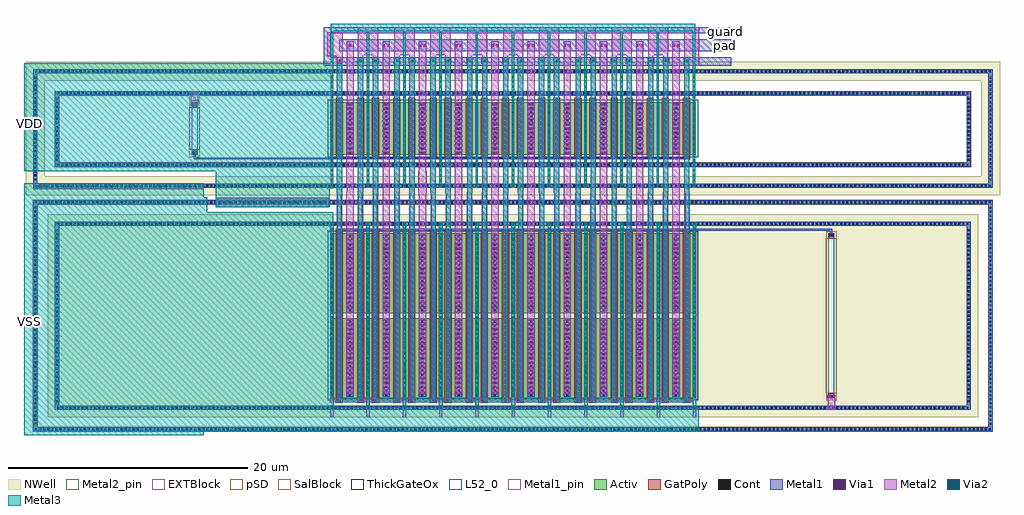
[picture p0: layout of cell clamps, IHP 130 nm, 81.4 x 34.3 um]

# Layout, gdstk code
from math import pi, radians
import gdstk
lib = gdstk.Library(unit=1e-6, precision=1e-09)
def R(c, l, rs):  # rectangles x0, y0, x1, y1
    for r in rs: c.add(gdstk.rectangle(r[:2], r[2:], *l))
def A(c, l, x, y, w, h, nx, ny, dx, dy):  # array of equal rectangles
    R(c, l, [(x+i*dx, y+j*dy, x+i*dx+w, y+j*dy+h) for i in range(nx) for j in range(ny)])
Activ = (1, 0)
GatPoly = (5, 0)
Cont = (6, 0)
Metal1 = (8, 0)
Metal1_pin = (8, 2)
Metal2 = (10, 0)
Metal2_pin = (10, 2)
pSD = (14, 0)
Via1 = (19, 0)
SalBlock = (28, 0)
Via2 = (29, 0)
Metal3 = (30, 0)
NWell = (31, 0)
ThickGateOx = (44, 0)
L52_0 = (52, 0)
EXTBlock = (111, 0)

sg13g2_clamp_p20n0d = lib.new_cell('sg13g2_Clamp_P20N0D')
R(sg13g2_clamp_p20n0d, Activ, [(0,0,80,0.34), (0,0.34,0.34,18.92), (79.66,0.34,80,18.92), (1.8,1.8,78.2,2.14), (1.8,2.14,2.14,17.12), (77.86,2.14,78.2,17.12), (24.75,2.75,55.25,9.41), (24.75,9.85,55.25,16.51), (1.8,17.12,78.2,17.46), (0,18.92,80,19.26)])
R(sg13g2_clamp_p20n0d, GatPoly, [(25.22,2.38,25.82,16.88), (27,2.38,27.6,16.88), (28.24,2.38,28.84,16.88), (30.02,2.38,30.62,16.88), (31.26,2.38,31.86,16.88), (33.04,2.38,33.64,16.88), (34.28,2.38,34.88,16.88), (36.06,2.38,36.66,16.88), (37.3,2.38,37.9,16.88), (39.08,2.38,39.68,16.88), (40.32,2.38,40.92,16.88), (42.1,2.38,42.7,16.88), (43.34,2.38,43.94,16.88), (45.12,2.38,45.72,16.88), (46.36,2.38,46.96,16.88), (48.14,2.38,48.74,16.88), (49.38,2.38,49.98,16.88), (51.16,2.38,51.76,16.88), (52.4,2.38,53,16.88), (54.18,2.38,54.78,16.88), (66.305,2.75,66.805,3.18), (66.305,16.08,66.805,16.51)])
A(sg13g2_clamp_p20n0d, Cont, 0.14, 0.09, 0.16, 0.16, 235, 2, 0.34, 18.92)
A(sg13g2_clamp_p20n0d, Cont, 0.09, 0.54, 0.16, 0.16, 1, 54, 0, 0.34)
A(sg13g2_clamp_p20n0d, Cont, 79.75, 0.54, 0.16, 0.16, 1, 54, 0, 0.34)
A(sg13g2_clamp_p20n0d, Cont, 2.01, 1.89, 0.16, 0.16, 224, 2, 0.34, 15.32)
A(sg13g2_clamp_p20n0d, Cont, 1.89, 2.41, 0.16, 0.16, 1, 43, 0, 0.34)
A(sg13g2_clamp_p20n0d, Cont, 77.95, 2.41, 0.16, 0.16, 1, 43, 0, 0.34)
A(sg13g2_clamp_p20n0d, Cont, 25.44, 2.45, 0.16, 0.16, 1, 3, 0, 7.1)
A(sg13g2_clamp_p20n0d, Cont, 27.22, 2.45, 0.16, 0.16, 1, 3, 0, 7.1)
A(sg13g2_clamp_p20n0d, Cont, 28.46, 2.45, 0.16, 0.16, 1, 3, 0, 7.1)
A(sg13g2_clamp_p20n0d, Cont, 30.24, 2.45, 0.16, 0.16, 1, 3, 0, 7.1)
A(sg13g2_clamp_p20n0d, Cont, 31.48, 2.45, 0.16, 0.16, 1, 3, 0, 7.1)
A(sg13g2_clamp_p20n0d, Cont, 33.26, 2.45, 0.16, 0.16, 1, 3, 0, 7.1)
A(sg13g2_clamp_p20n0d, Cont, 34.5, 2.45, 0.16, 0.16, 1, 3, 0, 7.1)
A(sg13g2_clamp_p20n0d, Cont, 36.28, 2.45, 0.16, 0.16, 1, 3, 0, 7.1)
A(sg13g2_clamp_p20n0d, Cont, 37.52, 2.45, 0.16, 0.16, 1, 3, 0, 7.1)
A(sg13g2_clamp_p20n0d, Cont, 39.3, 2.45, 0.16, 0.16, 1, 3, 0, 7.1)
A(sg13g2_clamp_p20n0d, Cont, 40.54, 2.45, 0.16, 0.16, 1, 3, 0, 7.1)
A(sg13g2_clamp_p20n0d, Cont, 42.32, 2.45, 0.16, 0.16, 1, 3, 0, 7.1)
A(sg13g2_clamp_p20n0d, Cont, 43.56, 2.45, 0.16, 0.16, 1, 3, 0, 7.1)
A(sg13g2_clamp_p20n0d, Cont, 45.34, 2.45, 0.16, 0.16, 1, 3, 0, 7.1)
A(sg13g2_clamp_p20n0d, Cont, 46.58, 2.45, 0.16, 0.16, 1, 3, 0, 7.1)
A(sg13g2_clamp_p20n0d, Cont, 48.36, 2.45, 0.16, 0.16, 1, 3, 0, 7.1)
A(sg13g2_clamp_p20n0d, Cont, 49.6, 2.45, 0.16, 0.16, 1, 3, 0, 7.1)
A(sg13g2_clamp_p20n0d, Cont, 51.38, 2.45, 0.16, 0.16, 1, 3, 0, 7.1)
A(sg13g2_clamp_p20n0d, Cont, 52.62, 2.45, 0.16, 0.16, 1, 3, 0, 7.1)
A(sg13g2_clamp_p20n0d, Cont, 54.4, 2.45, 0.16, 0.16, 1, 3, 0, 7.1)
A(sg13g2_clamp_p20n0d, Cont, 24.82, 2.94, 0.16, 0.16, 21, 19, 1.51, 0.34)
A(sg13g2_clamp_p20n0d, Cont, 24.82, 10.04, 0.16, 0.16, 21, 19, 1.51, 0.34)
R(sg13g2_clamp_p20n0d, Cont, [(66.375,2.82,66.735,2.98), (66.375,16.28,66.735,16.44)])
A(sg13g2_clamp_p20n0d, Metal1, 24.795, 2.86, 0.21, 6.44, 11, 2, 3.02, 7.1)
A(sg13g2_clamp_p20n0d, Metal1, 26.1, 2.86, 0.62, 6.44, 10, 2, 3.02, 7.1)
R(sg13g2_clamp_p20n0d, Metal1, [(0,0,80,0.34), (0,0.34,0.34,18.92), (79.66,0.34,80,18.92), (1.8,1.8,78.2,2.14), (1.8,2.14,2.14,17.12), (77.86,2.14,78.2,17.12), (25.44,2.37,25.6,16.73), (27.22,2.37,27.38,16.73), (28.46,2.37,28.62,16.73), (30.24,2.37,30.4,16.73), (31.48,2.37,31.64,16.73), (33.26,2.37,33.42,16.73), (34.5,2.37,34.66,16.73), (36.28,2.37,36.44,16.73), (37.52,2.37,37.68,16.73), (39.3,2.37,39.46,16.73), (40.54,2.37,40.7,16.73), (42.32,2.37,42.48,16.73), (43.56,2.37,43.72,16.73), (45.34,2.37,45.5,16.73), (46.58,2.37,46.74,16.73), (48.36,2.37,48.52,16.73), (49.6,2.37,49.76,16.73), (51.38,2.37,51.54,16.73), (52.62,2.37,52.78,16.73), (54.4,2.37,54.56,16.73), (66.2,2.75,66.9,3.05), (66.475,16.2,66.635,16.21), (66.325,16.21,66.785,16.51), (66.475,16.51,66.635,16.73), (25.44,16.73,66.635,16.89), (1.8,17.12,78.2,17.46), (0,18.92,80,19.26)])
R(sg13g2_clamp_p20n0d, Metal1_pin, [(62.52,0.09,63.085,0.29), (62.44,1.89,62.95,2.08)])
A(sg13g2_clamp_p20n0d, Metal2, 24.76, 1.16, 0.28, 0.61, 11, 1, 3.025, 0)
A(sg13g2_clamp_p20n0d, Metal2, 24.75, 1.77, 0.3, 0.38, 11, 1, 3.025, 0)
A(sg13g2_clamp_p20n0d, Metal2, 24.75, 3.06, 0.3, 14.39, 11, 1, 3.025, 0)
A(sg13g2_clamp_p20n0d, Metal2, 26.105, 3.065, 0.61, 16.835, 10, 1, 3.02, 0)
R(sg13g2_clamp_p20n0d, Metal2, [(66.25,1.825,66.86,3.045), (24.7,2.4,54.95,2.75), (25.3,2.75,25.75,19.9), (27.075,2.75,27.525,19.9), (28.325,2.75,28.775,19.9), (30.1,2.75,30.55,19.9), (31.35,2.75,31.8,19.9), (33.125,2.75,33.575,19.9), (34.375,2.75,34.825,19.9), (36.15,2.75,36.6,19.9), (37.4,2.75,37.85,19.9), (39.175,2.75,39.625,19.9), (40.425,2.75,40.875,19.9), (42.175,2.75,42.625,19.9), (43.425,2.75,43.875,19.9), (45.2,2.75,45.65,19.9), (46.45,2.75,46.9,19.9), (48.225,2.75,48.675,19.9), (49.475,2.75,49.925,19.9), (51.25,2.75,51.7,19.9), (52.5,2.75,52.95,19.9), (54.275,2.75,54.725,19.9)])
A(sg13g2_clamp_p20n0d, Metal2_pin, 26.105, 3.065, 0.61, 16.195, 10, 1, 3.02, 0)
R(sg13g2_clamp_p20n0d, pSD, [(-0.03,-0.03,80.03,0.37), (-0.03,0.37,0.37,18.89), (79.63,0.37,80.03,18.89), (24.57,2.57,55.43,16.69), (66.125,2.57,66.985,16.69), (-0.03,18.89,80.03,19.29)])
A(sg13g2_clamp_p20n0d, Via1, 24.805, 1.875, 0.19, 0.19, 11, 2, 3.02, 15.32)
A(sg13g2_clamp_p20n0d, Via1, 24.805, 3.115, 0.19, 0.19, 1, 15, 0, 0.41)
A(sg13g2_clamp_p20n0d, Via1, 26.11, 3.115, 0.19, 0.19, 1, 15, 0, 0.41)
A(sg13g2_clamp_p20n0d, Via1, 26.52, 3.115, 0.19, 0.19, 3, 15, 1.305, 0.41)
A(sg13g2_clamp_p20n0d, Via1, 29.54, 3.115, 0.19, 0.19, 3, 15, 1.305, 0.41)
A(sg13g2_clamp_p20n0d, Via1, 32.56, 3.115, 0.19, 0.19, 3, 15, 1.305, 0.41)
A(sg13g2_clamp_p20n0d, Via1, 35.58, 3.115, 0.19, 0.19, 3, 15, 1.305, 0.41)
A(sg13g2_clamp_p20n0d, Via1, 38.6, 3.115, 0.19, 0.19, 3, 15, 1.305, 0.41)
A(sg13g2_clamp_p20n0d, Via1, 41.62, 3.115, 0.19, 0.19, 3, 15, 1.305, 0.41)
A(sg13g2_clamp_p20n0d, Via1, 44.64, 3.115, 0.19, 0.19, 3, 15, 1.305, 0.41)
A(sg13g2_clamp_p20n0d, Via1, 47.66, 3.115, 0.19, 0.19, 3, 15, 1.305, 0.41)
A(sg13g2_clamp_p20n0d, Via1, 50.68, 3.115, 0.19, 0.19, 3, 15, 1.305, 0.41)
A(sg13g2_clamp_p20n0d, Via1, 53.7, 3.115, 0.19, 0.19, 1, 15, 0, 0.41)
A(sg13g2_clamp_p20n0d, Via1, 55.005, 3.115, 0.19, 0.19, 1, 15, 0, 0.41)
A(sg13g2_clamp_p20n0d, Via1, 24.805, 10.215, 0.19, 0.19, 1, 15, 0, 0.41)
A(sg13g2_clamp_p20n0d, Via1, 26.11, 10.215, 0.19, 0.19, 1, 15, 0, 0.41)
A(sg13g2_clamp_p20n0d, Via1, 26.52, 10.215, 0.19, 0.19, 3, 15, 1.305, 0.41)
A(sg13g2_clamp_p20n0d, Via1, 29.54, 10.215, 0.19, 0.19, 3, 15, 1.305, 0.41)
A(sg13g2_clamp_p20n0d, Via1, 32.56, 10.215, 0.19, 0.19, 3, 15, 1.305, 0.41)
A(sg13g2_clamp_p20n0d, Via1, 35.58, 10.215, 0.19, 0.19, 3, 15, 1.305, 0.41)
A(sg13g2_clamp_p20n0d, Via1, 38.6, 10.215, 0.19, 0.19, 3, 15, 1.305, 0.41)
A(sg13g2_clamp_p20n0d, Via1, 41.62, 10.215, 0.19, 0.19, 3, 15, 1.305, 0.41)
A(sg13g2_clamp_p20n0d, Via1, 44.64, 10.215, 0.19, 0.19, 3, 15, 1.305, 0.41)
A(sg13g2_clamp_p20n0d, Via1, 47.66, 10.215, 0.19, 0.19, 3, 15, 1.305, 0.41)
A(sg13g2_clamp_p20n0d, Via1, 50.68, 10.215, 0.19, 0.19, 3, 15, 1.305, 0.41)
A(sg13g2_clamp_p20n0d, Via1, 53.7, 10.215, 0.19, 0.19, 1, 15, 0, 0.41)
A(sg13g2_clamp_p20n0d, Via1, 55.005, 10.215, 0.19, 0.19, 1, 15, 0, 0.41)
R(sg13g2_clamp_p20n0d, Via1, [(66.255,1.875,66.445,2.065), (66.665,1.875,66.855,2.065), (66.255,2.805,66.445,2.995), (66.665,2.805,66.855,2.995)])
R(sg13g2_clamp_p20n0d, SalBlock, [(66.105,3.18,67.005,16.08)])
A(sg13g2_clamp_p20n0d, Via2, 24.805, 1.875, 0.19, 0.19, 11, 2, 3.025, 1.24)
A(sg13g2_clamp_p20n0d, Via2, 24.805, 3.525, 0.19, 0.19, 11, 14, 3.025, 0.41)
A(sg13g2_clamp_p20n0d, Via2, 24.805, 9.385, 0.19, 0.19, 11, 20, 3.025, 0.41)
A(sg13g2_clamp_p20n0d, Metal3, 27.775, 2, 0.3, 15.45, 10, 1, 3.025, 0)
A(sg13g2_clamp_p20n0d, Metal3, 28.35, 2.4, 2.15, 0.35, 3, 1, 3.05, 0)
A(sg13g2_clamp_p20n0d, Metal3, 43.5, 2.4, 2.15, 0.35, 3, 1, 3, 0)
R(sg13g2_clamp_p20n0d, Metal3, [(14,0,55.5,2), (14,2,25.05,17.45), (25.35,2.4,27.45,2.75), (37.45,2.4,39.65,2.75), (40.45,2.4,42.65,2.75), (52.55,2.4,54.7,2.75), (25.35,2.75,25.7,19.9), (27.1,2.75,27.45,19.9), (28.35,2.75,28.7,19.9), (30.15,2.75,30.5,19.9), (31.4,2.75,31.75,19.9), (33.2,2.75,33.55,19.9), (34.45,2.75,34.8,19.9), (36.2,2.75,36.55,19.9), (37.45,2.75,37.8,19.9), (39.2,2.75,39.55,19.9), (40.45,2.75,40.8,19.9), (42.25,2.75,42.6,19.9), (43.5,2.75,43.85,19.9), (45.25,2.75,45.6,19.9), (46.5,2.75,46.85,19.9), (48.25,2.75,48.6,19.9), (49.5,2.75,49.85,19.9), (51.3,2.75,51.65,19.9), (52.55,2.75,52.9,19.9), (54.35,2.75,54.7,19.9), (14,17.45,25,18.27), (14,18.27,14.52,19.5)])
R(sg13g2_clamp_p20n0d, NWell, [(1.18,1.18,78.82,18.08)])
R(sg13g2_clamp_p20n0d, ThickGateOx, [(24.565,2.565,55.435,16.695)])
R(sg13g2_clamp_p20n0d, L52_0, [(66.305,3.18,66.805,16.08)])
R(sg13g2_clamp_p20n0d, EXTBlock, [(66.125,2.57,66.985,16.69)])
sg13g2_clamp_p20n0d.add(gdstk.Label('pad', (26.41,11.162), layer=10, texttype=25))
sg13g2_clamp_p20n0d.add(gdstk.Label('pad', (29.43,11.162), layer=10, texttype=25))
sg13g2_clamp_p20n0d.add(gdstk.Label('pad', (32.45,11.162), layer=10, texttype=25))
sg13g2_clamp_p20n0d.add(gdstk.Label('pad', (35.47,11.162), layer=10, texttype=25))
sg13g2_clamp_p20n0d.add(gdstk.Label('pad', (38.49,11.162), layer=10, texttype=25))
sg13g2_clamp_p20n0d.add(gdstk.Label('pad', (41.51,11.162), layer=10, texttype=25))
sg13g2_clamp_p20n0d.add(gdstk.Label('pad', (44.53,11.162), layer=10, texttype=25))
sg13g2_clamp_p20n0d.add(gdstk.Label('pad', (47.55,11.162), layer=10, texttype=25))
sg13g2_clamp_p20n0d.add(gdstk.Label('pad', (50.57,11.162), layer=10, texttype=25))
sg13g2_clamp_p20n0d.add(gdstk.Label('pad', (53.59,11.162), layer=10, texttype=25))
sg13g2_clamp_p20n0d.add(gdstk.Label('iovss', (62.802,0.19), layer=8, texttype=25))
sg13g2_clamp_p20n0d.add(gdstk.Label('iovdd', (62.695,1.985), layer=8, texttype=25))

sg13g2_clamp_n20n0d = lib.new_cell('sg13g2_Clamp_N20N0D')
R(sg13g2_clamp_n20n0d, Activ, [(0.01,0,80,0.01), (0,0.01,80,0.34), (0,0.34,0.34,9.56), (79.66,0.34,80,9.56), (1.8,1.85,78.2,2.19), (1.8,2.19,2.14,7.81), (77.86,2.19,78.2,7.81), (24.75,2.75,55.25,7.15), (1.8,7.81,78.2,8.15), (0,9.56,80,9.9)])
R(sg13g2_clamp_n20n0d, GatPoly, [(25.22,2.38,25.82,7.52), (27,2.38,27.6,7.52), (28.24,2.38,28.84,7.52), (30.02,2.38,30.62,7.52), (31.26,2.38,31.86,7.52), (33.04,2.38,33.64,7.52), (34.28,2.38,34.88,7.52), (36.06,2.38,36.66,7.52), (37.3,2.38,37.9,7.52), (39.08,2.38,39.68,7.52), (40.32,2.38,40.92,7.52), (42.1,2.38,42.7,7.52), (43.34,2.38,43.94,7.52), (45.12,2.38,45.72,7.52), (46.36,2.38,46.96,7.52), (48.14,2.38,48.74,7.52), (49.38,2.38,49.98,7.52), (51.16,2.38,51.76,7.52), (52.4,2.38,53,7.52), (54.18,2.38,54.78,7.52), (66.305,2.75,66.805,3.18), (66.305,6.72,66.805,7.15)])
A(sg13g2_clamp_n20n0d, Cont, 0.14, 0.09, 0.16, 0.16, 235, 2, 0.34, 9.56)
A(sg13g2_clamp_n20n0d, Cont, 0.09, 0.62, 0.16, 0.16, 1, 26, 0, 0.34)
A(sg13g2_clamp_n20n0d, Cont, 79.75, 0.62, 0.16, 0.16, 1, 26, 0, 0.34)
A(sg13g2_clamp_n20n0d, Cont, 2.01, 1.94, 0.16, 0.16, 224, 2, 0.34, 5.96)
A(sg13g2_clamp_n20n0d, Cont, 1.89, 2.37, 0.16, 0.16, 1, 16, 0, 0.34)
A(sg13g2_clamp_n20n0d, Cont, 77.95, 2.37, 0.16, 0.16, 1, 16, 0, 0.34)
A(sg13g2_clamp_n20n0d, Cont, 24.82, 2.83, 0.16, 0.16, 21, 13, 1.51, 0.34)
R(sg13g2_clamp_n20n0d, Cont, [(25.44,2.45,25.6,2.61), (27.22,2.45,27.38,2.61), (28.46,2.45,28.62,2.61), (30.24,2.45,30.4,2.61), (31.48,2.45,31.64,2.61), (33.26,2.45,33.42,2.61), (34.5,2.45,34.66,2.61), (36.28,2.45,36.44,2.61), (37.52,2.45,37.68,2.61), (39.3,2.45,39.46,2.61), (40.54,2.45,40.7,2.61), (42.32,2.45,42.48,2.61), (43.56,2.45,43.72,2.61), (45.34,2.45,45.5,2.61), (46.58,2.45,46.74,2.61), (48.36,2.45,48.52,2.61), (49.6,2.45,49.76,2.61), (51.38,2.45,51.54,2.61), (52.62,2.45,52.78,2.61), (54.4,2.45,54.56,2.61), (66.375,2.82,66.735,2.98), (66.375,6.92,66.735,7.08), (25.44,7.29,25.6,7.45), (27.22,7.29,27.38,7.45), (28.46,7.29,28.62,7.45), (30.24,7.29,30.4,7.45), (31.48,7.29,31.64,7.45), (33.26,7.29,33.42,7.45), (34.5,7.29,34.66,7.45), (36.28,7.29,36.44,7.45), (37.52,7.29,37.68,7.45), (39.3,7.29,39.46,7.45), (40.54,7.29,40.7,7.45), (42.32,7.29,42.48,7.45), (43.56,7.29,43.72,7.45), (45.34,7.29,45.5,7.45), (46.58,7.29,46.74,7.45), (48.36,7.29,48.52,7.45), (49.6,7.29,49.76,7.45), (51.38,7.29,51.54,7.45), (52.62,7.29,52.78,7.45), (54.4,7.29,54.56,7.45)])
A(sg13g2_clamp_n20n0d, Metal1, 24.795, 1.8, 0.21, 0.05, 11, 2, 3.02, 5.96)
A(sg13g2_clamp_n20n0d, Metal1, 24.795, 2.75, 0.21, 4.4, 11, 1, 3.02, 0)
A(sg13g2_clamp_n20n0d, Metal1, 26.1, 2.75, 0.62, 4.4, 10, 1, 3.02, 0)
R(sg13g2_clamp_n20n0d, Metal1, [(0.01,0,80,0.01), (0,0.01,80,0.34), (0,0.34,0.34,9.56), (79.66,0.34,80,9.56), (66.245,1.825,66.865,1.85), (1.8,1.85,78.2,2.19), (1.8,2.19,2.14,7.81), (77.86,2.19,78.2,7.81), (25.44,2.37,25.6,7.37), (27.22,2.37,27.38,7.37), (28.46,2.37,28.62,7.37), (30.24,2.37,30.4,7.37), (31.48,2.37,31.64,7.37), (33.26,2.37,33.42,7.37), (34.5,2.37,34.66,7.37), (36.28,2.37,36.44,7.37), (37.52,2.37,37.68,7.37), (39.3,2.37,39.46,7.37), (40.54,2.37,40.7,7.37), (42.32,2.37,42.48,7.37), (43.56,2.37,43.72,7.37), (45.34,2.37,45.5,7.37), (46.58,2.37,46.74,7.37), (48.36,2.37,48.52,7.37), (49.6,2.37,49.76,7.37), (51.38,2.37,51.54,7.37), (52.62,2.37,52.78,7.37), (54.4,2.37,54.56,7.37), (66.245,2.75,66.865,3.04), (66.475,6.84,66.635,6.85), (66.325,6.85,66.785,7.15), (66.475,7.15,66.635,7.37), (25.44,7.37,66.635,7.53), (1.8,7.81,78.2,8.15), (0,9.56,80,9.895), (0,9.895,47.08,9.9), (47.935,9.895,80,9.9)])
R(sg13g2_clamp_n20n0d, Metal1_pin, [(62.245,1.85,62.74,2.1)])
A(sg13g2_clamp_n20n0d, Metal2, 26.105, -0.48, 0.61, 10.8, 7, 1, 3.02, 0)
A(sg13g2_clamp_n20n0d, Metal2, 24.8, 0, 0.2, 9.9, 11, 1, 3.02, 0)
R(sg13g2_clamp_n20n0d, Metal2, [(25.28,-0.48,25.73,10.32), (27.03,-0.48,27.48,10.32), (28.28,-0.48,28.73,10.32), (30.08,-0.48,30.53,10.32), (31.33,-0.48,31.78,10.32), (33.08,-0.48,33.53,10.32), (34.33,-0.48,34.78,10.32), (36.13,-0.48,36.58,10.32), (37.38,-0.48,37.83,10.32), (39.13,-0.48,39.58,10.32), (40.38,-0.48,40.83,10.32), (42.13,-0.48,42.58,10.32), (43.38,-0.48,43.83,10.32), (45.18,-0.48,45.63,10.32), (46.43,-0.48,46.88,10.32), (47.245,-0.48,47.855,8.51), (48.18,-0.48,48.63,10.32), (49.43,-0.48,49.88,10.32), (50.265,-0.48,50.875,10.32), (51.23,-0.48,51.68,10.32), (52.48,-0.48,52.93,10.32), (53.28,-0.48,53.88,2.755), (54.23,-0.48,54.68,10.37), (66.25,1.825,66.86,3.045), (53.28,2.755,53.895,9.9), (47.2,8.51,47.89,10.32), (53.28,9.9,53.88,10.37), (47.245,10.32,47.85,10.43)])
A(sg13g2_clamp_n20n0d, Metal2_pin, 26.105, 2.755, 0.61, 7.145, 10, 1, 3.02, 0)
R(sg13g2_clamp_n20n0d, pSD, [(1.77,1.82,78.23,2.22), (1.77,2.22,2.17,7.78), (66.125,2.22,66.985,7.33), (77.83,2.22,78.23,7.78), (1.77,7.78,78.23,8.18)])
A(sg13g2_clamp_n20n0d, Via1, 24.805, 1.875, 0.19, 0.19, 11, 2, 3.02, 5.96)
A(sg13g2_clamp_n20n0d, Via1, 24.805, 2.805, 0.19, 0.19, 1, 11, 0, 0.41)
A(sg13g2_clamp_n20n0d, Via1, 26.11, 2.805, 0.19, 0.19, 1, 11, 0, 0.41)
A(sg13g2_clamp_n20n0d, Via1, 26.52, 2.805, 0.19, 0.19, 3, 11, 1.305, 0.41)
A(sg13g2_clamp_n20n0d, Via1, 29.54, 2.805, 0.19, 0.19, 3, 11, 1.305, 0.41)
A(sg13g2_clamp_n20n0d, Via1, 32.56, 2.805, 0.19, 0.19, 3, 11, 1.305, 0.41)
A(sg13g2_clamp_n20n0d, Via1, 35.58, 2.805, 0.19, 0.19, 3, 11, 1.305, 0.41)
A(sg13g2_clamp_n20n0d, Via1, 38.6, 2.805, 0.19, 0.19, 3, 11, 1.305, 0.41)
A(sg13g2_clamp_n20n0d, Via1, 41.62, 2.805, 0.19, 0.19, 3, 11, 1.305, 0.41)
A(sg13g2_clamp_n20n0d, Via1, 44.64, 2.805, 0.19, 0.19, 3, 11, 1.305, 0.41)
A(sg13g2_clamp_n20n0d, Via1, 47.66, 2.805, 0.19, 0.19, 3, 11, 1.305, 0.41)
A(sg13g2_clamp_n20n0d, Via1, 50.68, 2.805, 0.19, 0.19, 3, 11, 1.305, 0.41)
A(sg13g2_clamp_n20n0d, Via1, 53.7, 2.805, 0.19, 0.19, 1, 11, 0, 0.41)
A(sg13g2_clamp_n20n0d, Via1, 55.005, 2.805, 0.19, 0.19, 1, 11, 0, 0.41)
R(sg13g2_clamp_n20n0d, Via1, [(66.255,1.875,66.445,2.065), (66.665,1.875,66.855,2.065), (66.255,2.8,66.445,2.99), (66.665,2.8,66.855,2.99)])
R(sg13g2_clamp_n20n0d, SalBlock, [(66.105,3.18,67.005,6.72)])
A(sg13g2_clamp_n20n0d, Via2, 24.805, 0.14, 0.19, 0.19, 11, 24, 3.02, 0.41)
A(sg13g2_clamp_n20n0d, Metal3, 24.8, 0.09, 0.2, 9.72, 11, 1, 3.02, 0)
R(sg13g2_clamp_n20n0d, Metal3, [(25.28,-0.48,25.73,10.32), (27.03,-0.48,27.48,10.32), (28.28,-0.48,28.73,10.32), (30.08,-0.48,30.53,10.32), (31.33,-0.48,31.78,10.32), (33.08,-0.48,33.53,10.32), (34.33,-0.48,34.78,10.32), (36.13,-0.48,36.58,10.32), (37.38,-0.48,37.83,10.32), (39.13,-0.48,39.58,10.32), (40.38,-0.48,40.83,10.32), (42.13,-0.48,42.58,10.32), (43.38,-0.48,43.83,10.32), (45.18,-0.48,45.63,10.32), (46.43,-0.48,46.88,10.32), (48.18,-0.48,48.63,10.32), (49.43,-0.48,49.88,10.32), (51.23,-0.48,51.68,10.32), (52.48,-0.48,52.93,10.32), (54.23,-0.48,54.68,10.37)])
R(sg13g2_clamp_n20n0d, NWell, [(-0.62,-0.62,80.62,0.96), (-0.62,0.96,0.96,8.94), (79.04,0.96,80.62,8.94), (-0.62,8.94,80.62,10.52)])
R(sg13g2_clamp_n20n0d, ThickGateOx, [(24.565,2.565,55.435,7.335)])
R(sg13g2_clamp_n20n0d, L52_0, [(66.305,3.18,66.805,6.72)])
R(sg13g2_clamp_n20n0d, EXTBlock, [(66.125,2.57,66.985,7.33)])
sg13g2_clamp_n20n0d.add(gdstk.Label('pad', (29.43,6.327), layer=10, texttype=25))
sg13g2_clamp_n20n0d.add(gdstk.Label('pad', (26.41,6.327), layer=10, texttype=25))
sg13g2_clamp_n20n0d.add(gdstk.Label('pad', (35.47,6.327), layer=10, texttype=25))
sg13g2_clamp_n20n0d.add(gdstk.Label('pad', (32.45,6.327), layer=10, texttype=25))
sg13g2_clamp_n20n0d.add(gdstk.Label('pad', (38.49,6.327), layer=10, texttype=25))
sg13g2_clamp_n20n0d.add(gdstk.Label('pad', (41.51,6.327), layer=10, texttype=25))
sg13g2_clamp_n20n0d.add(gdstk.Label('pad', (44.53,6.327), layer=10, texttype=25))
sg13g2_clamp_n20n0d.add(gdstk.Label('pad', (47.55,6.327), layer=10, texttype=25))
sg13g2_clamp_n20n0d.add(gdstk.Label('pad', (50.57,6.327), layer=10, texttype=25))
sg13g2_clamp_n20n0d.add(gdstk.Label('pad', (53.59,6.327), layer=10, texttype=25))
sg13g2_clamp_n20n0d.add(gdstk.Label('iovss', (62.492,1.975), layer=8, texttype=25))

clamps = lib.new_cell('clamps')
R(clamps, Metal1, [(11,-13,20.4,-12.2), (-4.2,-11.5,10,-11), (20,-1.2,54,-0.5), (20,-0.5,20.6,1.5), (21.3,0,54,1), (20,1.5,54,2)])
A(clamps, Metal2, 24.905, -1.805, 0.61, 2.655, 9, 1, 3.02, 0)
A(clamps, Metal2, 31.95, -0.3, 1.7, 2.3, 3, 1, 3, 0)
R(clamps, Metal2, [(11,-13,20.4,-12.2), (-4.2,-11.5,10,-11), (21.1,-1.725,21.55,-0.6), (31.95,-1.65,32.4,-1.025), (24.1,-1.625,24.55,-1.025), (28.9,-1.625,29.35,-1.025), (34.95,-1.625,35.4,-1.025), (47.05,-1.625,47.5,-1.025), (48.3,-1.625,48.75,-1.025), (21.9,-1.6,22.5,0.845), (33.2,-1.545,33.65,-1.025), (27.15,-1.525,27.6,-1.025), (30.15,-1.525,30.6,-1.025), (22.85,-1.52,23.3,-1.025), (45.25,-1.52,45.7,-1.025), (36.2,-1.505,36.65,-1.025), (37.95,-1.505,38.4,-1.025), (50.05,-1.48,50.5,-1.2), (25.9,-1.45,26.35,-1.025), (39.2,-1.45,39.65,-1.025), (41,-1.45,41.45,-1.025), (42.25,-1.45,42.7,-1.025), (44,-1.45,44.45,-1.025), (50.05,-1.2,51.3,-1.025), (22.805,-1.025,23.345,-0.575), (24.055,-1.025,24.595,-0.575), (25.855,-1.025,26.395,-0.575), (27.105,-1.025,27.645,-0.575), (28.855,-1.025,29.395,-0.575), (30.105,-1.025,30.645,-0.575), (31.905,-1.025,32.445,-0.575), (33.155,-1.025,33.695,-0.575), (34.905,-1.025,35.445,-0.575), (36.155,-1.025,36.695,-0.575), (37.905,-1.025,38.445,-0.575), (39.155,-1.025,39.695,-0.575), (40.955,-1.025,41.495,-0.575), (42.205,-1.025,42.745,-0.575), (43.955,-1.025,44.495,-0.575), (45.205,-1.025,45.745,-0.575), (47.005,-1.025,47.545,-0.575), (48.255,-1.025,48.795,-0.575), (50.005,-1.025,51.3,-0.575), (21.1,-0.6,21.6,-0.4), (22.85,-0.575,23.3,-0.3), (24.1,-0.575,24.55,-0.3), (25.9,-0.575,26.35,-0.3), (27.15,-0.575,27.6,-0.3), (28.9,-0.575,29.35,-0.3), (30.15,-0.575,30.6,-0.3), (31.95,-0.575,32.4,-0.3), (33.2,-0.575,33.65,-0.3), (34.95,-0.575,35.4,-0.3), (36.2,-0.575,36.65,-0.3), (37.95,-0.575,38.4,-0.3), (39.2,-0.575,39.65,-0.3), (41,-0.575,41.45,-0.3), (42.25,-0.575,42.7,-0.3), (44,-0.575,44.45,-0.3), (45.25,-0.575,45.7,-0.3), (47.05,-0.575,47.5,-0.3), (48.3,-0.575,48.75,-0.3), (50.05,-0.575,51.3,2), (20.3,-0.4,21.6,1.6), (22.85,-0.3,24.55,1.97), (25.9,-0.3,27.6,1.985), (28.9,-0.3,30.6,2), (41,-0.3,42.7,2), (44,-0.3,45.7,2), (47.05,-0.3,48.75,2), (23,1.97,24.55,2), (26,1.985,27.6,2)])
A(clamps, Via1, 11.3, -12.695, 0.19, 0.19, 22, 1, 0.41, 0)
A(clamps, Via1, -3.96, -11.345, 0.19, 0.19, 34, 1, 0.41, 0)
R(clamps, Via1, [(22.98,-0.895,23.17,-0.705), (24.23,-0.895,24.42,-0.705), (26.03,-0.895,26.22,-0.705), (27.28,-0.895,27.47,-0.705), (29.03,-0.895,29.22,-0.705), (30.28,-0.895,30.47,-0.705), (32.08,-0.895,32.27,-0.705), (33.33,-0.895,33.52,-0.705), (35.08,-0.895,35.27,-0.705), (36.33,-0.895,36.52,-0.705), (38.08,-0.895,38.27,-0.705), (39.33,-0.895,39.52,-0.705), (41.13,-0.895,41.32,-0.705), (42.38,-0.895,42.57,-0.705), (44.13,-0.895,44.32,-0.705), (45.38,-0.895,45.57,-0.705), (47.18,-0.895,47.37,-0.705), (48.43,-0.895,48.62,-0.705), (50.18,-0.895,50.37,-0.705), (21.23,-0.89,21.42,-0.7), (22.105,0.41,22.295,0.6), (24.91,0.41,25.1,0.6), (25.32,0.41,25.51,0.6), (27.93,0.41,28.12,0.6), (28.34,0.41,28.53,0.6), (30.95,0.41,31.14,0.6), (31.36,0.41,31.55,0.6), (33.97,0.41,34.16,0.6), (34.38,0.41,34.57,0.6), (36.99,0.41,37.18,0.6), (37.4,0.41,37.59,0.6), (40.01,0.41,40.2,0.6), (40.42,0.41,40.61,0.6), (43.03,0.41,43.22,0.6), (43.44,0.41,43.63,0.6), (46.05,0.41,46.24,0.6), (46.46,0.41,46.65,0.6), (49.07,0.41,49.26,0.6), (49.48,0.41,49.67,0.6)])
A(clamps, Via2, 11.3, -12.695, 0.19, 0.19, 22, 1, 0.41, 0)
A(clamps, Via2, -3.96, -11.345, 0.19, 0.19, 34, 1, 0.41, 0)
R(clamps, Via2, [(22.98,-0.895,23.17,-0.705), (24.23,-0.895,24.42,-0.705), (26.03,-0.895,26.22,-0.705), (27.28,-0.895,27.47,-0.705), (29.03,-0.895,29.22,-0.705), (30.28,-0.895,30.47,-0.705), (32.08,-0.895,32.27,-0.705), (33.33,-0.895,33.52,-0.705), (35.08,-0.895,35.27,-0.705), (36.33,-0.895,36.52,-0.705), (38.08,-0.895,38.27,-0.705), (39.33,-0.895,39.52,-0.705), (41.13,-0.895,41.32,-0.705), (42.38,-0.895,42.57,-0.705), (44.13,-0.895,44.32,-0.705), (45.38,-0.895,45.57,-0.705), (47.18,-0.895,47.37,-0.705), (48.43,-0.895,48.62,-0.705), (50.18,-0.895,50.37,-0.705)])
A(clamps, Metal3, 44.74, -2.2, 0.2, 3.9, 3, 1, 3.02, 0)
R(clamps, Metal3, [(-5,-32,10,-11), (11,-13,20.5,-11.4), (11,-11.4,20.8,-10), (-5,-10,20.8,-9.9), (-5,-9.9,20.7,-2.4), (29.64,-2.5,29.84,1.7), (35.68,-2.5,35.88,1.7), (-5,-2.4,20.78,-1), (23.6,-2.4,23.8,1.7), (26.62,-2.3,26.82,1.7), (38.7,-2.3,38.9,1.7), (32.66,-2.2,32.86,1.7), (41.72,-2.1,41.92,1.7), (22.85,-1.625,23.3,-0.53), (24.1,-1.625,24.55,-0.53), (25.9,-1.625,26.35,-0.53), (27.15,-1.625,27.6,-0.53), (37.95,-1.625,38.4,-0.53), (42.25,-1.625,42.7,-0.53), (45.25,-1.625,45.7,-0.53), (48.3,-1.625,48.75,-0.53), (28.9,-1.525,29.35,-0.53), (30.15,-1.525,30.6,-0.53), (31.95,-1.525,32.4,-0.53), (33.2,-1.525,33.65,-0.53), (34.95,-1.525,35.4,-0.53), (39.2,-1.525,39.65,-0.53), (41,-1.525,41.45,-0.53), (44,-1.525,44.45,-0.53), (47.05,-1.525,47.5,-0.53), (50.05,-1.525,50.5,-0.53), (36.2,-1.45,36.65,-0.53), (20.58,-1,20.78,1.7), (20.58,1.7,51,2.3)])
clamps.add(gdstk.Reference(sg13g2_clamp_p20n0d, (-4.22,-31.67)))
clamps.add(gdstk.Reference(sg13g2_clamp_n20n0d, (75.78,-1.48), rotation=pi))
clamps.add(gdstk.Label('VDD', (-4.5,-6), layer=30, texttype=25))
clamps.add(gdstk.Label('VSS', (-4.5,-22.5), layer=30, texttype=25))
clamps.add(gdstk.Label('pad', (53.5,0.5), layer=8, texttype=25))
clamps.add(gdstk.Label('guard', (53.5,1.7), layer=8, texttype=25))

lib.write_gds('clamps.gds')
